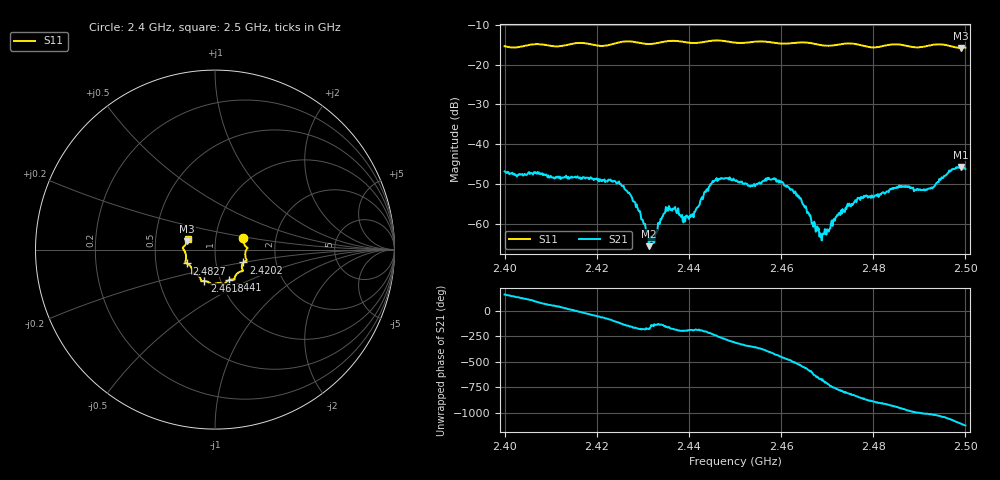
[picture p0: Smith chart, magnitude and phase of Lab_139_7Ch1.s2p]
# Hz S RI R 50
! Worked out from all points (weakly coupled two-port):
!   601 points, 2.4 GHz to 2.5 GHz, reference 50 ohm
!   highest |S21| = -45.79 dB at 2.499 GHz (marker M1); lowest = -65.7 dB at 2.4313 GHz (marker M2)
!   lowest |S11| = -15.8 dB at 2.499 GHz (marker M3), VSWR 1.39, Z = 36.4 + j3.46 ohm
!   |S11| at or under -10 dB: start of sweep to end of sweep
!   S12 and S22 are empty: the file has one direction only
!   S11 on the Smith chart (normalised r, x): 2.4 GHz: 1.36, +0.18; 2.4202 GHz: 1.36, -0.20; 2.441 GHz: 1.10, -0.39; 2.4618 GHz: 0.84, -0.30; 2.4827 GHz: 0.72, -0.12; 2.5 GHz: 0.73, +0.09
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2.4e9  0.1583 0.0627  -0.0042 0.00165  0 0  0 0
2.416667e9  0.1773 -0.0606  0.00358 -0.000953  0 0  0 0
2.420167e9  0.1583 -0.0714  0.00206 -0.00284  0 0  0 0
2.425333e9  0.1552 -0.115  -0.00185 -0.0024  0 0  0 0
2.428833e9  0.1468 -0.1207  -0.00157 -0.000196  0 0  0 0
2.431333e9  0.1236 -0.1333  -0.000519 -4.86e-07  0 0  0 0
2.4325e9  0.1151 -0.1435  -0.000389 -0.000438  0 0  0 0
2.433333e9  0.1115 -0.151  -0.00064 -0.000799  0 0  0 0
2.4355e9  0.1094 -0.1651  -0.0014 -0.000383  0 0  0 0
2.438667e9  0.1 -0.1662  -0.00101 0.000338  0 0  0 0
2.441e9  0.0785 -0.1698  -0.00117 0.000253  0 0  0 0
2.4455e9  0.051 -0.1943  -0.00192 0.00287  0 0  0 0
2.45e9  0.0284 -0.1871  0.00234 0.00257  0 0  0 0
2.461833e9  -0.0594 -0.1753  -0.00146 -0.00235  0 0  0 0
2.466667e9  -0.0783 -0.1682  -0.000494 0.000863  0 0  0 0
2.468833e9  -0.0862 -0.1525  0.000485 0.000375  0 0  0 0
2.4745e9  -0.1268 -0.1346  4.27e-05 -0.00178  0 0  0 0
2.482667e9  -0.156 -0.0773  -0.00237 0.000541  0 0  0 0
2.483333e9  -0.1602 -0.0754  -0.00232 0.000886  0 0  0 0
2.491667e9  -0.1714 -0.00462  0.000754 0.00255  0 0  0 0
2.499e9  -0.1552 0.0463  0.00466 -0.00215  0 0  0 0
2.5e9  -0.1521 0.0608  0.00354 -0.00333  0 0  0 0
